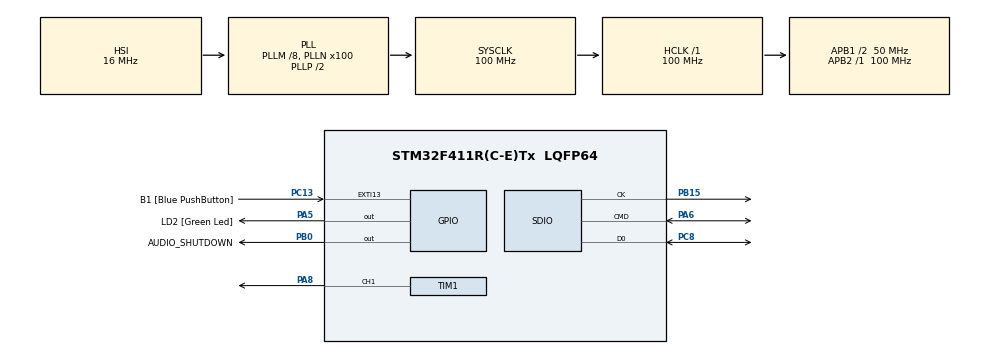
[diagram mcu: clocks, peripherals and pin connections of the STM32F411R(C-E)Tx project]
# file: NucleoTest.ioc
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Mcu.Family=STM32F4
Mcu.Name=STM32F411R(C-E)Tx
Mcu.Package=LQFP64
NVIC.PriorityGroup=NVIC_PRIORITYGROUP_0
NVIC.TIM1_UP_TIM10_IRQn=true\:0\:0\:false\:false\:true
PA13.GPIO_Label=TMS
PA13.Signal=SYS_JTMS-SWDIO
PA14.GPIO_Label=TCK
PA14.Signal=SYS_JTCK-SWCLK
PA2.GPIO_Label=USART_TX
PA2.Signal=USART2_TX
PA3.GPIO_Label=USART_RX
PA3.Signal=USART2_RX
PA5.GPIO_Label=LD2 [Green Led]
PA5.Signal=GPIO_Output
PA6.Mode=SD_1_bit
PA6.Signal=SDIO_CMD
PA8.Signal=S_TIM1_CH1
PB0.GPIO_Label=AUDIO_SHUTDOWN
PB0.Signal=GPIO_Output
PB15.Mode=SD_1_bit
PB15.Signal=SDIO_CK
PB3.GPIO_Label=SWO
PB3.Signal=SYS_JTDO-SWO
PC13-ANTI_TAMP.GPIO_Label=B1 [Blue PushButton]
PC13-ANTI_TAMP.GPIO_ModeDefaultEXTI=GPIO_MODE_EVT_RISING
PC13-ANTI_TAMP.Signal=GPXTI13
PC14-OSC32_IN.Signal=RCC_OSC32_IN
PC15-OSC32_OUT.Signal=RCC_OSC32_OUT
PC8.Mode=SD_1_bit
PC8.Signal=SDIO_D0
PH0\ -\ OSC_IN.Signal=RCC_OSC_IN
PH1\ -\ OSC_OUT.Signal=RCC_OSC_OUT
ProjectManager.HeapSize=0x200
ProjectManager.StackSize=0x400
ProjectManager.TargetToolchain=SW4STM32
RCC.48MHZClocksFreq_Value=40000000
RCC.AHBFreq_Value=100000000
RCC.APB1CLKDivider=RCC_HCLK_DIV2
RCC.APB1Freq_Value=50000000
RCC.APB1TimFreq_Value=100000000
RCC.APB2Freq_Value=100000000
RCC.APB2TimFreq_Value=100000000
RCC.CortexFreq_Value=100000000
RCC.FLatency-AdvancedSettings=FLASH_LATENCY_3
RCC.HCLKFreq_Value=100000000
RCC.HSE_VALUE=8000000
RCC.HSI_VALUE=16000000
RCC.LSE_VALUE=32768
RCC.PLLM=8
RCC.PLLN=100
RCC.PLLQ=5
RCC.SYSCLKFreq_VALUE=100000000
RCC.SYSCLKSource=RCC_SYSCLKSOURCE_PLLCLK
RCC.VCOOutputFreq_Value=200000000
SDIO.BusWide=SDIO_BUS_WIDE_1B
SH.S_TIM1_CH1.0=TIM1_CH1,PWM Generation1 CH1
TIM1.Period=1500
TIM1.Prescaler=167
TIM1.Pulse-PWM\ Generation1\ CH1=65535
TIM1.TIM_MasterOutputTrigger=TIM_TRGO_UPDATE
VP_FATFS_VS_SDIO.Mode=SDIO
board=NUCLEO-F411RE

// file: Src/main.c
/**
  ******************************************************************************
  * File Name          : main.c
  * Description        : Main program body
  ******************************************************************************
  *
  * Copyright (c) 2016 STMicroelectronics International N.V.
  * All rights reserved.
  *
  * Redistribution and use in source and binary forms, with or without
  * modification, are permitted, provided that the following conditions are met:
  *
  * 1. Redistribution of source code must retain the above copyright notice,
  *    this list of conditions and the following disclaimer.
  * 2. Redistributions in binary form must reproduce the above copyright notice,
  *    this list of conditions and the following disclaimer in the documentation
  *    and/or other materials provided with the distribution.
  * 3. Neither the name of STMicroelectronics nor the names of other
  *    contributors to this software may be used to endorse or promote products
  *    derived from this software without specific written permission.
  * 4. This software, including modifications and/or derivative works of this
  *    software, must execute solely and exclusively on microcontroller or
  *    microprocessor devices manufactured by or for STMicroelectronics.
  * 5. Redistribution and use of this software other than as permitted under
  *    this license is void and will automatically terminate your rights under
  *    this license.
  *
  * THIS SOFTWARE IS PROVIDED BY STMICROELECTRONICS AND CONTRIBUTORS "AS IS"
  * AND ANY EXPRESS, IMPLIED OR STATUTORY WARRANTIES, INCLUDING, BUT NOT
  * LIMITED TO, THE IMPLIED WARRANTIES OF MERCHANTABILITY, FITNESS FOR A
  * PARTICULAR PURPOSE AND NON-INFRINGEMENT OF THIRD PARTY INTELLECTUAL PROPERTY
  * RIGHTS ARE DISCLAIMED TO THE FULLEST EXTENT PERMITTED BY LAW. IN NO EVENT
  * SHALL STMICROELECTRONICS OR CONTRIBUTORS BE LIABLE FOR ANY DIRECT, INDIRECT,
  * INCIDENTAL, SPECIAL, EXEMPLARY, OR CONSEQUENTIAL DAMAGES (INCLUDING, BUT NOT
  * LIMITED TO, PROCUREMENT OF SUBSTITUTE GOODS OR SERVICES; LOSS OF USE, DATA,
  * OR PROFITS; OR BUSINESS INTERRUPTION) HOWEVER CAUSED AND ON ANY THEORY OF
  * LIABILITY, WHETHER IN CONTRACT, STRICT LIABILITY, OR TORT (INCLUDING
  * NEGLIGENCE OR OTHERWISE) ARISING IN ANY WAY OUT OF THE USE OF THIS SOFTWARE,
  * EVEN IF ADVISED OF THE POSSIBILITY OF SUCH DAMAGE.
  *
  ******************************************************************************
  */
#include "main.h"
#include "stm32f4xx_hal.h"
#include "fatfs.h"

SD_HandleTypeDef hsd;
HAL_SD_CardInfoTypedef SDCardInfo;

TIM_HandleTypeDef htim1;

/* USER CODE BEGIN PV */
/* Private variables ---------------------------------------------------------*/
int AUDIO_pwm_count = 0;
int AUDIO_buffer_size = 1024;
int AUDIO_buffer[AUDIO_buffer_size]; // sure, 1024 is fine, right?
int AUDIO_buffer_in = 0;
int AUDIO_buffer_out = 0;

/* USER CODE END PV */

void SystemClock_Config(void);
void Error_Handler(void);
static void MX_GPIO_Init(void);
static void MX_SDIO_SD_Init(void);
static void MX_TIM1_Init(void);

void HAL_TIM_MspPostInit(TIM_HandleTypeDef *htim);

/* USER CODE BEGIN PFP */
/* Private function prototypes -----------------------------------------------*/

int AUDIO_buffer_isEmpty();
int AUDIO_buffer_isFull();
int AUDIO_buffer_push(int value);
int AUDIO_buffer_pop();

/* USER CODE END PFP */

/* USER CODE BEGIN 0 */
void HAL_TIM_PeriodElapsedCallback(TIM_HandleTypeDef *htim) {
	TIM_OC_InitTypeDef sConfigOC;
	sConfigOC.OCMode = TIM_OCMODE_PWM1;
    sConfigOC.OCPolarity = TIM_OCPOLARITY_HIGH;
    sConfigOC.OCFastMode = TIM_OCFAST_DISABLE;
    // this operates at some large frequency
    // prescaler = 2 (3-1) = 56Mhz, period = 1270 for each cycle to be 1/44100 Hz????
    // therefore, the
	if (htim->Instance == TIM1) {
		// do something

		if(AUDIO_pwm_count < 1270) {
			AUDIO_pwm_count++;
		} else {
		    AUDIO_pwm_count = 0;
		    if(AUDIO_buffer_isEmpty()) {
		    	sConfigOC.Pulse = 0; // make no sound!
		    	HAL_GPIO_WritePin(AUDIO_SHUTDOWN_GPIO_Port, AUDIO_SHUTDOWN_Pin, GPIO_PIN_RESET);
		    } else {
		    	sConfigOC.Pulse = AUDIO_buffer_pop();
		    	HAL_GPIO_WritePin(AUDIO_SHUTDOWN_GPIO_Port, AUDIO_SHUTDOWN_Pin, GPIO_PIN_SET);
		    }
		}

	    HAL_TIM_PWM_ConfigChannel(&htim1, &sConfigOC, TIM_CHANNEL_1);
	    HAL_TIM_PWM_Start_IT(&htim1, TIM_CHANNEL_1);

	}
}
/* USER CODE END 0 */

int main(void)
{

  /* MCU Configuration----------------------------------------------------------*/

  /* Reset of all peripherals, Initializes the Flash interface and the Systick. */
  HAL_Init();

  /* Configure the system clock */
  SystemClock_Config();

  /* Initialize all configured peripherals */
  MX_GPIO_Init();
  MX_SDIO_SD_Init();
  MX_TIM1_Init();
  MX_FATFS_Init();

  /* USER CODE BEGIN 2 */

  /*
  htim1.Init.Prescaler = 168-1; // 1 MHz timer?????
  // we want it to change every 22.68 microseconds
  htim1.Init.Period = 5;
  htim1.Init.ClockDivision = 0;
  htim1.Init.CounterMode = TIM_COUNTERMODE_UP;
  */
  HAL_TIM_Base_Start_IT(&htim1);
  HAL_TIM_PWM_Start_IT(&htim1,TIM_CHANNEL_1);
  //HAL_TIMEx_PWMN_Start(&htim1,TIM_CHANNEL_ALL);

  /* USER CODE END 2 */

  /* Infinite loop */
  while (1)
  {

  }

}

/** System Clock Configuration
*/
void SystemClock_Config(void)
{

  RCC_OscInitTypeDef RCC_OscInitStruct;
  RCC_ClkInitTypeDef RCC_ClkInitStruct;

    /**Configure the main internal regulator output voltage
    */
  __HAL_RCC_PWR_CLK_ENABLE();

  __HAL_PWR_VOLTAGESCALING_CONFIG(PWR_REGULATOR_VOLTAGE_SCALE1);

    /**Initializes the CPU, AHB and APB busses clocks
    */
  RCC_OscInitStruct.OscillatorType = RCC_OSCILLATORTYPE_HSI;
  RCC_OscInitStruct.HSIState = RCC_HSI_ON;
  RCC_OscInitStruct.HSICalibrationValue = 16;
  RCC_OscInitStruct.PLL.PLLState = RCC_PLL_ON;
  RCC_OscInitStruct.PLL.PLLSource = RCC_PLLSOURCE_HSI;
  RCC_OscInitStruct.PLL.PLLM = 8;
  RCC_OscInitStruct.PLL.PLLN = 100;
  RCC_OscInitStruct.PLL.PLLP = RCC_PLLP_DIV2;
  RCC_OscInitStruct.PLL.PLLQ = 5;
  if (HAL_RCC_OscConfig(&RCC_OscInitStruct) != HAL_OK)
  {
    Error_Handler();
  }

    /**Initializes the CPU, AHB and APB busses clocks
    */
  RCC_ClkInitStruct.ClockType = RCC_CLOCKTYPE_HCLK|RCC_CLOCKTYPE_SYSCLK
                              |RCC_CLOCKTYPE_PCLK1|RCC_CLOCKTYPE_PCLK2;
  RCC_ClkInitStruct.SYSCLKSource = RCC_SYSCLKSOURCE_PLLCLK;
  RCC_ClkInitStruct.AHBCLKDivider = RCC_SYSCLK_DIV1;
  RCC_ClkInitStruct.APB1CLKDivider = RCC_HCLK_DIV2;
  RCC_ClkInitStruct.APB2CLKDivider = RCC_HCLK_DIV1;

  if (HAL_RCC_ClockConfig(&RCC_ClkInitStruct, FLASH_LATENCY_3) != HAL_OK)
  {
    Error_Handler();
  }

    /**Configure the Systick interrupt time
    */
  HAL_SYSTICK_Config(HAL_RCC_GetHCLKFreq()/1000);

    /**Configure the Systick
    */
  HAL_SYSTICK_CLKSourceConfig(SYSTICK_CLKSOURCE_HCLK);

  /* SysTick_IRQn interrupt configuration */
  HAL_NVIC_SetPriority(SysTick_IRQn, 0, 0);
}

/* SDIO init function */
static void MX_SDIO_SD_Init(void)
{

  hsd.Instance = SDIO;
  hsd.Init.ClockEdge = SDIO_CLOCK_EDGE_RISING;
  hsd.Init.ClockBypass = SDIO_CLOCK_BYPASS_DISABLE;
  hsd.Init.ClockPowerSave = SDIO_CLOCK_POWER_SAVE_DISABLE;
  hsd.Init.BusWide = SDIO_BUS_WIDE_1B;
  hsd.Init.HardwareFlowControl = SDIO_HARDWARE_FLOW_CONTROL_DISABLE;
  hsd.Init.ClockDiv = 0;

}

/* TIM1 init function */
static void MX_TIM1_Init(void)
{

  TIM_MasterConfigTypeDef sMasterConfig;
  TIM_OC_InitTypeDef sConfigOC;
  TIM_BreakDeadTimeConfigTypeDef sBreakDeadTimeConfig;

  htim1.Instance = TIM1;
  htim1.Init.Prescaler = 2;
  htim1.Init.CounterMode = TIM_COUNTERMODE_UP;
  htim1.Init.Period = 128;
  htim1.Init.ClockDivision = TIM_CLOCKDIVISION_DIV1;
  htim1.Init.RepetitionCounter = 0;
  if (HAL_TIM_PWM_Init(&htim1) != HAL_OK)
  {
    Error_Handler();
  }

  sMasterConfig.MasterOutputTrigger = TIM_TRGO_UPDATE;
  sMasterConfig.MasterSlaveMode = TIM_MASTERSLAVEMODE_DISABLE;
  if (HAL_TIMEx_MasterConfigSynchronization(&htim1, &sMasterConfig) != HAL_OK)
  {
    Error_Handler();
  }

  sConfigOC.OCMode = TIM_OCMODE_PWM1;
  sConfigOC.Pulse = 65535;
  sConfigOC.OCPolarity = TIM_OCPOLARITY_HIGH;
  sConfigOC.OCNPolarity = TIM_OCNPOLARITY_HIGH;
  sConfigOC.OCFastMode = TIM_OCFAST_DISABLE;
  sConfigOC.OCIdleState = TIM_OCIDLESTATE_RESET;
  sConfigOC.OCNIdleState = TIM_OCNIDLESTATE_RESET;
  if (HAL_TIM_PWM_ConfigChannel(&htim1, &sConfigOC, TIM_CHANNEL_1) != HAL_OK)
  {
    Error_Handler();
  }

  sBreakDeadTimeConfig.OffStateRunMode = TIM_OSSR_DISABLE;
  sBreakDeadTimeConfig.OffStateIDLEMode = TIM_OSSI_DISABLE;
  sBreakDeadTimeConfig.LockLevel = TIM_LOCKLEVEL_OFF;
  sBreakDeadTimeConfig.DeadTime = 0;
  sBreakDeadTimeConfig.BreakState = TIM_BREAK_DISABLE;
  sBreakDeadTimeConfig.BreakPolarity = TIM_BREAKPOLARITY_HIGH;
  sBreakDeadTimeConfig.AutomaticOutput = TIM_AUTOMATICOUTPUT_DISABLE;
  if (HAL_TIMEx_ConfigBreakDeadTime(&htim1, &sBreakDeadTimeConfig) != HAL_OK)
  {
    Error_Handler();
  }

  HAL_TIM_MspPostInit(&htim1);

}

/** Configure pins as
        * Analog
        * Input
        * Output
        * EVENT_OUT
        * EXTI
     PA2   ------> USART2_TX
     PA3   ------> USART2_RX
*/
static void MX_GPIO_Init(void)
{

  GPIO_InitTypeDef GPIO_InitStruct;

  /* GPIO Ports Clock Enable */
  __HAL_RCC_GPIOC_CLK_ENABLE();
  __HAL_RCC_GPIOH_CLK_ENABLE();
  __HAL_RCC_GPIOA_CLK_ENABLE();
  __HAL_RCC_GPIOB_CLK_ENABLE();

  /*Configure GPIO pin : B1_Pin */
  GPIO_InitStruct.Pin = B1_Pin;
  GPIO_InitStruct.Mode = GPIO_MODE_EVT_RISING;
  GPIO_InitStruct.Pull = GPIO_NOPULL;
  HAL_GPIO_Init(B1_GPIO_Port, &GPIO_InitStruct);

  /*Configure GPIO pins : USART_TX_Pin USART_RX_Pin */
  GPIO_InitStruct.Pin = USART_TX_Pin|USART_RX_Pin;
  GPIO_InitStruct.Mode = GPIO_MODE_AF_PP;
  GPIO_InitStruct.Pull = GPIO_NOPULL;
  GPIO_InitStruct.Speed = GPIO_SPEED_FREQ_VERY_HIGH;
  GPIO_InitStruct.Alternate = GPIO_AF7_USART2;
  HAL_GPIO_Init(GPIOA, &GPIO_InitStruct);

  /*Configure GPIO pin : LD2_Pin */
  GPIO_InitStruct.Pin = LD2_Pin;
  GPIO_InitStruct.Mode = GPIO_MODE_OUTPUT_PP;
  GPIO_InitStruct.Pull = GPIO_NOPULL;
  GPIO_InitStruct.Speed = GPIO_SPEED_FREQ_LOW;
  HAL_GPIO_Init(LD2_GPIO_Port, &GPIO_InitStruct);

  /*Configure GPIO pin : AUDIO_SHUTDOWN_Pin */
  GPIO_InitStruct.Pin = AUDIO_SHUTDOWN_Pin;
  GPIO_InitStruct.Mode = GPIO_MODE_OUTPUT_PP;
  GPIO_InitStruct.Pull = GPIO_NOPULL;
  GPIO_InitStruct.Speed = GPIO_SPEED_FREQ_LOW;
  HAL_GPIO_Init(AUDIO_SHUTDOWN_GPIO_Port, &GPIO_InitStruct);

  /*Configure GPIO pin Output Level */
  HAL_GPIO_WritePin(LD2_GPIO_Port, LD2_Pin, GPIO_PIN_RESET);

  /*Configure GPIO pin Output Level */
  HAL_GPIO_WritePin(AUDIO_SHUTDOWN_GPIO_Port, AUDIO_SHUTDOWN_Pin, GPIO_PIN_RESET);

}

/* USER CODE BEGIN 4 */

int AUDIO_buffer_isEmpty() {
	if(AUDIO_buffer_in == AUDIO_buffer_out) {
		return 1;
	} else {
		return 0;
	}
}

int AUDIO_buffer_isFull() {
	if(((AUDIO_buffer_in + 1) % AUDIO_buffer_size) == AUDIO_buffer_out) {
		return 1;
	} else {
		return 0;
	}
}

int AUDIO_buffer_push(int value) {
	// push a value to the buffer. accepted inputs (right now) should be a pwm value between 0 and 127
	if(AUDIO_buffer_isFull()) {
		return -1; // failed
	} else {
		AUDIO_buffer[AUDIO_buffer_in] = value;
		AUDIO_buffer_in = (AUDIO_buffer_in + 1) % AUDIO_buffer_size;
		return 1; // not failed
	}
}

int AUDIO_buffer_pop() {
	// Returns a value that theoretically should be between 0 and 127 (maybe i'll do 256 for more quantization, dunno);
	// this value represents the duty cycle of the audio, and is essentially the amplitude of the waveform at whatever sample,
	// quantized between 0 and 128
	int value = 0;
	if(AUDIO_buffer_isEmpty()) {
		return -1; // rip in peace
	} else {
		value = AUDIO_buffer[AUDIO_buffer_out];
		AUDIO_buffer_out = (AUDIO_buffer_out + 1) % AUDIO_buffer_size;
		return value;
	}
}
/* USER CODE END 4 */

void Error_Handler(void)
{
  while(1)
  {
  }
}

/************************ (C) COPYRIGHT STMicroelectronics *****END OF FILE****/
